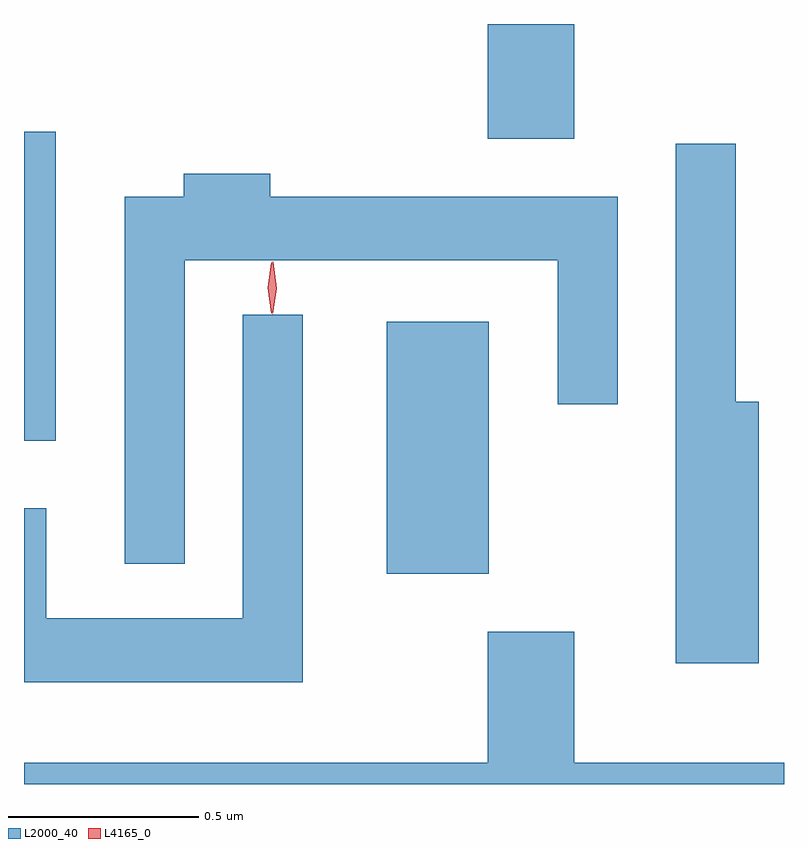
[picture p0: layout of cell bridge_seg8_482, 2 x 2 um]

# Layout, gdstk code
import gdstk
lib = gdstk.Library(unit=1e-6, precision=1e-09)
def R(c, l, rs):  # rectangles x0, y0, x1, y1
    for r in rs: c.add(gdstk.rectangle(r[:2], r[2:], *l))
def P(c, l, *ps):  # polygons
    for p in ps: c.add(gdstk.Polygon(p, *l))
L2000_40 = (2000, 40)
L4165_0 = (4165, 0)

bridge_seg8_482 = lib.new_cell('bridge_seg8_482')
R(bridge_seg8_482, L2000_40, [(532.716,1932.641,532.984,1933.304), (531.761,1932.991,531.844,1933.804), (532.981,1933.786,533.209,1934.088)])
P(bridge_seg8_482, L2000_40, [(533.694,1933.094),(533.634,1933.094),(533.634,1933.773),(533.476,1933.773),(533.476,1932.406),(533.694,1932.406)],
  [(532.184,1933.466),(533.166,1933.466),(533.166,1933.088),(533.324,1933.088),(533.324,1933.634),(532.409,1933.634),(532.409,1933.694),(532.181,1933.694),(532.181,1933.634),(532.026,1933.634),(532.026,1932.668),(532.184,1932.668)],
  [(532.494,1933.323),(532.336,1933.323),(532.336,1932.524),(531.819,1932.524),(531.819,1932.814),(531.761,1932.814),(531.761,1932.356),(532.494,1932.356)],
  [(533.761,1932.144),(533.209,1932.144),(533.209,1932.489),(532.981,1932.489),(532.981,1932.144),(531.761,1932.144),(531.761,1932.088),(533.761,1932.088)])
P(bridge_seg8_482, L4165_0, [(532.415,1933.324),(532.406,1933.394),(532.416,1933.462),(532.416,1933.463),(532.417,1933.462),(532.426,1933.393),(532.416,1933.324),(532.416,1933.324)],
  [(532.412,1933.327),(532.403,1933.394),(532.412,1933.46),(532.413,1933.461),(532.413,1933.46),(532.423,1933.394),(532.413,1933.327),(532.413,1933.327)])

lib.write_gds('bridge_seg8_482.gds')
